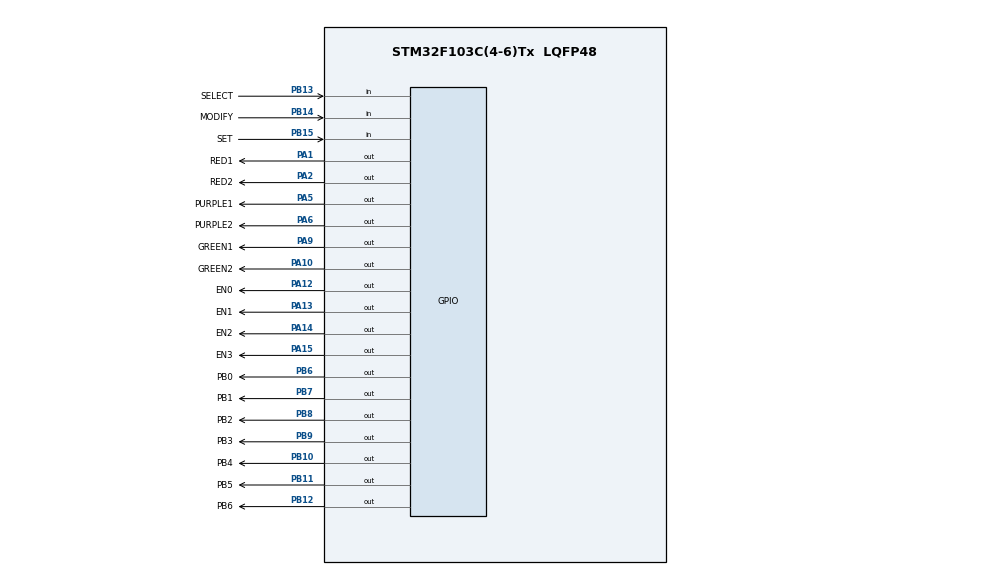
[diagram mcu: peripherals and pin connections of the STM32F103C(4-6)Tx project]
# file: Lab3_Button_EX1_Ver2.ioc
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Mcu.Family=STM32F1
Mcu.Name=STM32F103C(4-6)Tx
Mcu.Package=LQFP48
NVIC.PriorityGroup=NVIC_PRIORITYGROUP_4
NVIC.TIM2_IRQn=true\:0\:0\:false\:false\:true\:true\:true\:true
PA1.GPIO_Label=RED1
PA1.Signal=GPIO_Output
PA10.GPIO_Label=GREEN2
PA10.Signal=GPIO_Output
PA12.GPIO_Label=EN0
PA12.Signal=GPIO_Output
PA13.GPIO_Label=EN1
PA13.Signal=GPIO_Output
PA14.GPIO_Label=EN2
PA14.Signal=GPIO_Output
PA15.GPIO_Label=EN3
PA15.Signal=GPIO_Output
PA2.GPIO_Label=RED2
PA2.Signal=GPIO_Output
PA5.GPIO_Label=PURPLE1
PA5.Signal=GPIO_Output
PA6.GPIO_Label=PURPLE2
PA6.Signal=GPIO_Output
PA9.GPIO_Label=GREEN1
PA9.Signal=GPIO_Output
PB10.GPIO_Label=PB4
PB10.Signal=GPIO_Output
PB11.GPIO_Label=PB5
PB11.Signal=GPIO_Output
PB12.GPIO_Label=PB6
PB12.Signal=GPIO_Output
PB13.GPIO_Label=SELECT
PB13.GPIO_PuPd=GPIO_PULLUP
PB13.Signal=GPIO_Input
PB14.GPIO_Label=MODIFY
PB14.GPIO_PuPd=GPIO_PULLUP
PB14.Signal=GPIO_Input
PB15.GPIO_Label=SET
PB15.GPIO_PuPd=GPIO_PULLUP
PB15.Signal=GPIO_Input
PB6.GPIO_Label=PB0
PB6.Signal=GPIO_Output
PB7.GPIO_Label=PB1
PB7.Signal=GPIO_Output
PB8.GPIO_Label=PB2
PB8.Signal=GPIO_Output
PB9.GPIO_Label=PB3
PB9.Signal=GPIO_Output
ProjectManager.HeapSize=0x200
ProjectManager.StackSize=0x400
ProjectManager.TargetToolchain=STM32CubeIDE
RCC.APB1Freq_Value=8000000
RCC.APB2Freq_Value=8000000
TIM2.Period=9
TIM2.Prescaler=7999
TIM3.Period=499
TIM3.Prescaler=7999
VP_SYS_VS_ND.Mode=No_Debug
VP_TIM2_VS_ClockSourceINT.Mode=Internal
VP_TIM3_VS_ClockSourceINT.Mode=Internal
board=custom

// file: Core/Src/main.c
/* USER CODE BEGIN Header */
/**
  ******************************************************************************
  * @file           : main.c
  * @brief          : Main program body
  ******************************************************************************
  * @attention
  *
  * Copyright (c) 2022 STMicroelectronics.
  * All rights reserved.
  *
  * This software is licensed under terms that can be found in the LICENSE file
  * in the root directory of this software component.
  * If no LICENSE file comes with this software, it is provided AS-IS.
  *
  ******************************************************************************
  */
/* USER CODE END Header */
#include "main.h"

/* USER CODE BEGIN Includes */
#include "software_timer.h"
#include "global.h"
#include "fsm_machine.h"
#include "seg7_display.h"
#include "button.h"
#include "button2.h"
#include "button3.h"
#include "fsm_change.h"
#include "schedule_function.h"
/* USER CODE END Includes */

TIM_HandleTypeDef htim2;
TIM_HandleTypeDef htim3;

void SystemClock_Config(void);
static void MX_GPIO_Init(void);
static void MX_TIM2_Init(void);
static void MX_TIM3_Init(void);

/* USER CODE BEGIN 0 */
							//Todo 1
//void Toggle1(){
//	HAL_GPIO_TogglePin(RED1_GPIO_Port, RED1_Pin);
//}
//
//							//tODO 2
//void Toggle2(){
//	HAL_GPIO_TogglePin(RED2_GPIO_Port, RED2_Pin);
//}
//
//void Toggle3(){
//	HAL_GPIO_TogglePin(GREEN1_GPIO_Port, GREEN1_Pin);
//}
//void (*ptr)() = Toggle;

/* USER CODE END 0 */

int main(void)
{

  /* MCU Configuration--------------------------------------------------------*/

  /* Reset of all peripherals, Initializes the Flash interface and the Systick. */
  HAL_Init();

  /* USER CODE BEGIN Init */
  // Initialize a schedule
//  		 SCH_Init() ;
  	//Add a task to repeatedly call in every 1 second .
//  		 OFF_ALL_LED1();
//  		 OFF_ALL_LED2();
//  		 SCH_Add_Task(Toggle1, 100 , 100) ;
//  		 SCH_Add_Task(Toggle2, 300 , 100) ;
//  		 SCH_Add_Task(Toggle3, 200, 100);
  /* USER CODE END Init */

  /* Configure the system clock */
  SystemClock_Config();

  /* Initialize all configured peripherals */
  MX_GPIO_Init();
  MX_TIM2_Init();
  MX_TIM3_Init();
  /* USER CODE BEGIN 2 */
HAL_TIM_Base_Start_IT(&htim2);
//HAL_TIM_Base_Start_IT(&htim3);

  /* USER CODE END 2 */

  /* Infinite loop */
  /* USER CODE BEGIN WHILE */
start_SEG7();
setTimer1(100);
setTimer2(100);
setTimer3(25);
//void Toggle(){
//	HAL_GPIO_TogglePin(RED1_GPIO_Port, RED1_Pin);
//}
//
//void (*ptr)();
//ptr = Toggle;
//OFF_ALL_LED1();
//OFF_ALL_LED2();
  while (1)
  {
//	  HAL_GPIO_TogglePin(RED1_GPIO_Port, RED1_Pin);
//	  HAL_Delay(100);
////	  SCH_Dispatch_Tasks();
//	  (*ptr)();
//	  Toggle();
//	  HAL_Delay(1000);

	  to_do_7SEG();
	  fsm_Suy_Exercise();

//Dispatcher function INIT
//	  SCH_Dispatch_Tasks();

    /* USER CODE END WHILE */

  }
}

void SystemClock_Config(void)
{
  RCC_OscInitTypeDef RCC_OscInitStruct = {0};
  RCC_ClkInitTypeDef RCC_ClkInitStruct = {0};

  /** Initializes the RCC Oscillators according to the specified parameters
  * in the RCC_OscInitTypeDef structure.
  */
  RCC_OscInitStruct.OscillatorType = RCC_OSCILLATORTYPE_HSI;
  RCC_OscInitStruct.HSIState = RCC_HSI_ON;
  RCC_OscInitStruct.HSICalibrationValue = RCC_HSICALIBRATION_DEFAULT;
  RCC_OscInitStruct.PLL.PLLState = RCC_PLL_NONE;
  if (HAL_RCC_OscConfig(&RCC_OscInitStruct) != HAL_OK)
  {
    Error_Handler();
  }

  /** Initializes the CPU, AHB and APB buses clocks
  */
  RCC_ClkInitStruct.ClockType = RCC_CLOCKTYPE_HCLK|RCC_CLOCKTYPE_SYSCLK
                              |RCC_CLOCKTYPE_PCLK1|RCC_CLOCKTYPE_PCLK2;
  RCC_ClkInitStruct.SYSCLKSource = RCC_SYSCLKSOURCE_HSI;
  RCC_ClkInitStruct.AHBCLKDivider = RCC_SYSCLK_DIV1;
  RCC_ClkInitStruct.APB1CLKDivider = RCC_HCLK_DIV1;
  RCC_ClkInitStruct.APB2CLKDivider = RCC_HCLK_DIV1;

  if (HAL_RCC_ClockConfig(&RCC_ClkInitStruct, FLASH_LATENCY_0) != HAL_OK)
  {
    Error_Handler();
  }
}

static void MX_TIM2_Init(void)
{

  TIM_ClockConfigTypeDef sClockSourceConfig = {0};
  TIM_MasterConfigTypeDef sMasterConfig = {0};

  htim2.Instance = TIM2;
  htim2.Init.Prescaler = 7999;
  htim2.Init.CounterMode = TIM_COUNTERMODE_UP;
  htim2.Init.Period = 9;
  htim2.Init.ClockDivision = TIM_CLOCKDIVISION_DIV1;
  htim2.Init.AutoReloadPreload = TIM_AUTORELOAD_PRELOAD_DISABLE;
  if (HAL_TIM_Base_Init(&htim2) != HAL_OK)
  {
    Error_Handler();
  }
  sClockSourceConfig.ClockSource = TIM_CLOCKSOURCE_INTERNAL;
  if (HAL_TIM_ConfigClockSource(&htim2, &sClockSourceConfig) != HAL_OK)
  {
    Error_Handler();
  }
  sMasterConfig.MasterOutputTrigger = TIM_TRGO_RESET;
  sMasterConfig.MasterSlaveMode = TIM_MASTERSLAVEMODE_DISABLE;
  if (HAL_TIMEx_MasterConfigSynchronization(&htim2, &sMasterConfig) != HAL_OK)
  {
    Error_Handler();
  }

}

static void MX_TIM3_Init(void)
{

  TIM_ClockConfigTypeDef sClockSourceConfig = {0};
  TIM_MasterConfigTypeDef sMasterConfig = {0};

  htim3.Instance = TIM3;
  htim3.Init.Prescaler = 7999;
  htim3.Init.CounterMode = TIM_COUNTERMODE_UP;
  htim3.Init.Period = 499;
  htim3.Init.ClockDivision = TIM_CLOCKDIVISION_DIV1;
  htim3.Init.AutoReloadPreload = TIM_AUTORELOAD_PRELOAD_DISABLE;
  if (HAL_TIM_Base_Init(&htim3) != HAL_OK)
  {
    Error_Handler();
  }
  sClockSourceConfig.ClockSource = TIM_CLOCKSOURCE_INTERNAL;
  if (HAL_TIM_ConfigClockSource(&htim3, &sClockSourceConfig) != HAL_OK)
  {
    Error_Handler();
  }
  sMasterConfig.MasterOutputTrigger = TIM_TRGO_RESET;
  sMasterConfig.MasterSlaveMode = TIM_MASTERSLAVEMODE_DISABLE;
  if (HAL_TIMEx_MasterConfigSynchronization(&htim3, &sMasterConfig) != HAL_OK)
  {
    Error_Handler();
  }

}

static void MX_GPIO_Init(void)
{
  GPIO_InitTypeDef GPIO_InitStruct = {0};

  /* GPIO Ports Clock Enable */
  __HAL_RCC_GPIOA_CLK_ENABLE();
  __HAL_RCC_GPIOB_CLK_ENABLE();

  /*Configure GPIO pin Output Level */
  HAL_GPIO_WritePin(GPIOA, RED1_Pin|RED2_Pin|PURPLE1_Pin|PURPLE2_Pin
                          |GREEN1_Pin|GREEN2_Pin|EN0_Pin|EN1_Pin
                          |EN2_Pin|EN3_Pin, GPIO_PIN_RESET);

  /*Configure GPIO pin Output Level */
  HAL_GPIO_WritePin(GPIOB, PB4_Pin|PB5_Pin|PB6_Pin|PB0_Pin
                          |PB1_Pin|PB2_Pin|PB3_Pin, GPIO_PIN_RESET);

  /*Configure GPIO pins : RED1_Pin RED2_Pin PURPLE1_Pin PURPLE2_Pin
                           GREEN1_Pin GREEN2_Pin EN0_Pin EN1_Pin
                           EN2_Pin EN3_Pin */
  GPIO_InitStruct.Pin = RED1_Pin|RED2_Pin|PURPLE1_Pin|PURPLE2_Pin
                          |GREEN1_Pin|GREEN2_Pin|EN0_Pin|EN1_Pin
                          |EN2_Pin|EN3_Pin;
  GPIO_InitStruct.Mode = GPIO_MODE_OUTPUT_PP;
  GPIO_InitStruct.Pull = GPIO_NOPULL;
  GPIO_InitStruct.Speed = GPIO_SPEED_FREQ_LOW;
  HAL_GPIO_Init(GPIOA, &GPIO_InitStruct);

  /*Configure GPIO pins : PB4_Pin PB5_Pin PB6_Pin PB0_Pin
                           PB1_Pin PB2_Pin PB3_Pin */
  GPIO_InitStruct.Pin = PB4_Pin|PB5_Pin|PB6_Pin|PB0_Pin
                          |PB1_Pin|PB2_Pin|PB3_Pin;
  GPIO_InitStruct.Mode = GPIO_MODE_OUTPUT_PP;
  GPIO_InitStruct.Pull = GPIO_NOPULL;
  GPIO_InitStruct.Speed = GPIO_SPEED_FREQ_LOW;
  HAL_GPIO_Init(GPIOB, &GPIO_InitStruct);

  /*Configure GPIO pins : SELECT_Pin MODIFY_Pin SET_Pin */
  GPIO_InitStruct.Pin = SELECT_Pin|MODIFY_Pin|SET_Pin;
  GPIO_InitStruct.Mode = GPIO_MODE_INPUT;
  GPIO_InitStruct.Pull = GPIO_PULLUP;
  HAL_GPIO_Init(GPIOB, &GPIO_InitStruct);

}

/* USER CODE BEGIN 4 */
void HAL_TIM_PeriodElapsedCallback(TIM_HandleTypeDef *htim2){
	timerRun();
//	timerRun_7seg();
//	getKeyInput();
	get_key_Input();
	get_key_Input2();
	get_key_Input3();
//	SCH_Update();
}
/* USER CODE END 4 */

void Error_Handler(void)
{
  __disable_irq();
  while (1)
  {
  }
}
